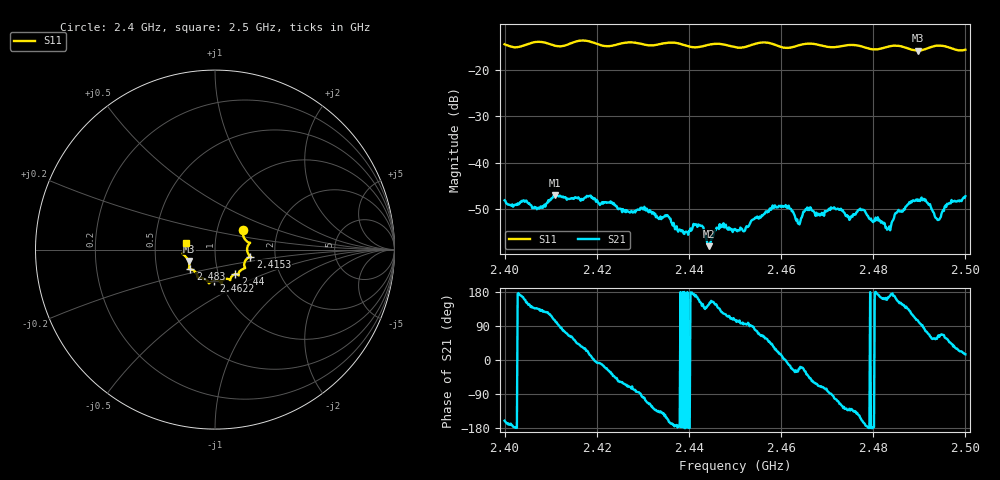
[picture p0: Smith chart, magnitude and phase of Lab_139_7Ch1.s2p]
# Hz S RI R 50
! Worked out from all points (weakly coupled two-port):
!   601 points, 2.4 GHz to 2.5 GHz, reference 50 ohm
!   highest |S21| = -46.91 dB at 2.411 GHz (marker M1); lowest = -57.9 dB at 2.4443 GHz (marker M2)
!   lowest |S11| = -15.9 dB at 2.4897 GHz (marker M3), VSWR 1.38, Z = 36.9 - j4.82 ohm
!   |S11| at or under -10 dB: start of sweep to end of sweep
!   S12 and S22 are empty: the file has one direction only
!   S11 on the Smith chart (normalised r, x): 2.4 GHz: 1.33, +0.29; 2.4153 GHz: 1.48, -0.12; 2.44 GHz: 1.20, -0.34; 2.4622 GHz: 0.93, -0.33; 2.483 GHz: 0.74, -0.17; 2.5 GHz: 0.72, +0.06
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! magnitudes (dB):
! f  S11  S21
! 2.4 GHz  -14.5  -48.1
! 2.4075 GHz  -14.0  -49.8
! 2.411 GHz  -14.9  -46.9
! 2.4153 GHz  -14.0  -47.4
! 2.4167 GHz  -13.7  -47.8
! 2.4333 GHz  -14.6  -51.9
! 2.44 GHz  -15.0  -54.6
! 2.4425 GHz  -15.0  -53.5
! 2.4443 GHz  -14.6  -57.9
! 2.447 GHz  -14.5  -53.3
! 2.45 GHz  -15.1  -54.2
! 2.4585 GHz  -14.6  -49.7
! 2.4622 GHz  -15.2  -49.9
! 2.4637 GHz  -14.8  -53.0
! 2.4667 GHz  -14.4  -50.2
! 2.4777 GHz  -15.0  -50.1
! 2.483 GHz  -15.1  -54.4
! 2.4833 GHz  -15.0  -54.2
! 2.4852 GHz  -14.8  -50.6
! 2.4897 GHz  -15.9  -47.9
! 2.494 GHz  -14.8  -52.3
! 2.5 GHz  -15.7  -47.2
